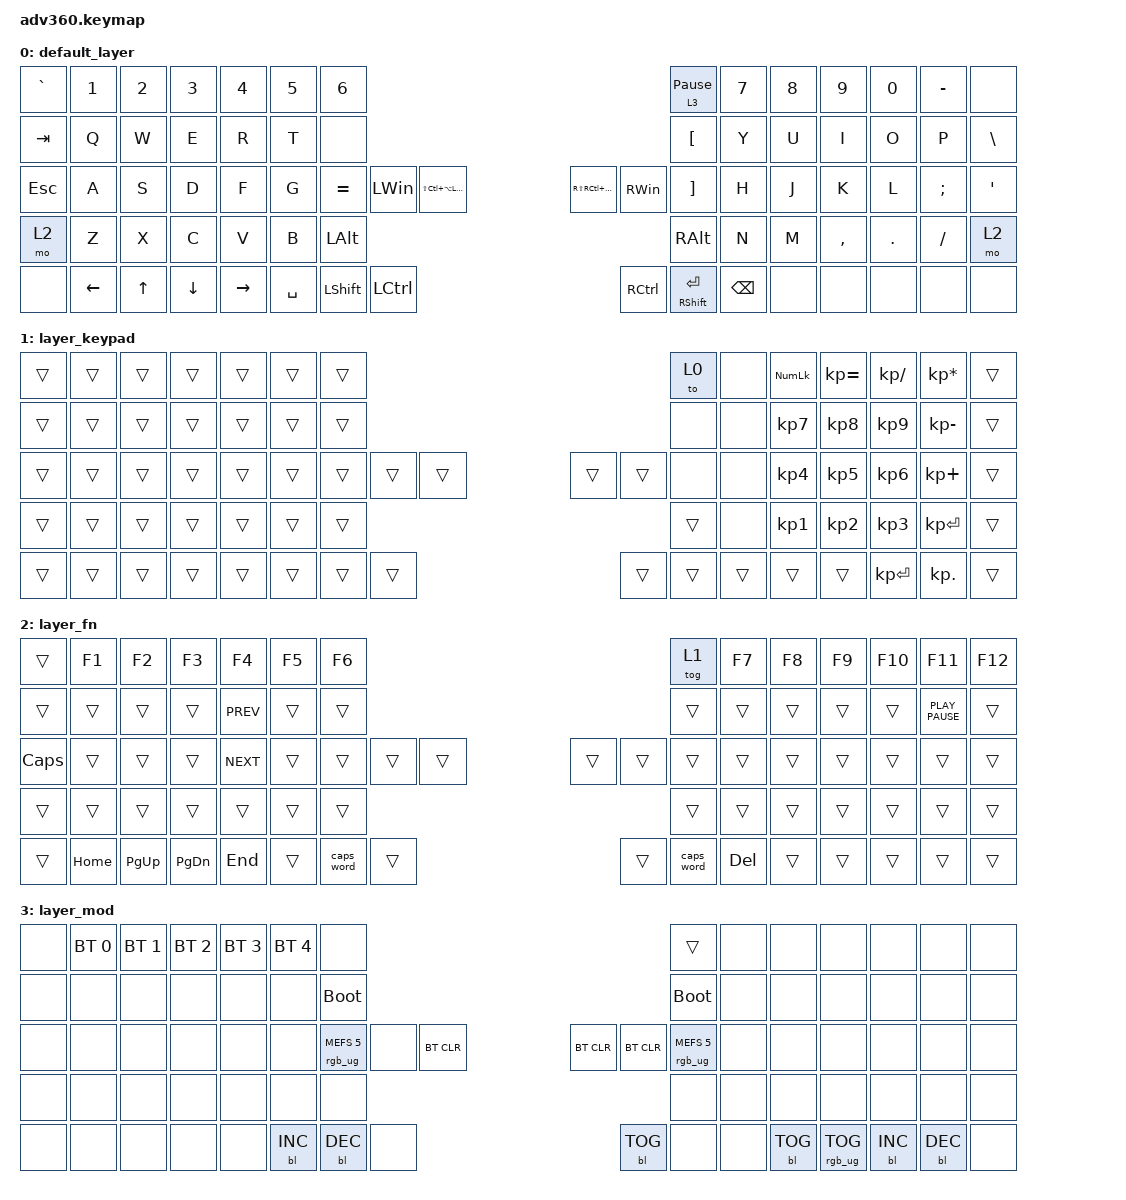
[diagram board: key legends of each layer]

/*
 * Copyright (c) 2020 The ZMK Contributors
 *
 * SPDX-License-Identifier: MIT
 */


/* THIS FILE WAS GENERATED!
 *
 * This file was generated automatically. You may or may not want to
 * edit it directly.
 */

#include <behaviors.dtsi>
#include <dt-bindings/zmk/keys.h>
#include <dt-bindings/zmk/bt.h>
#include <dt-bindings/zmk/rgb.h>
#include <dt-bindings/zmk/backlight.h>

/ {
  behaviors {
    #include "macros.dtsi"

    hm: homerow_mods {
        compatible = "zmk,behavior-hold-tap";
        label = "HOMEROW_MODS";
        #binding-cells = <2>;
        tapping-term-ms = <200>;
        quick_tap_ms = <175>;
        flavor = "tap-preferred";
        bindings = <&kp>, <&kp>;
    };
  };

    keymap {
        compatible = "zmk,keymap";


        default_layer {
            bindings = <
  &kp GRAVE    &kp N1  &kp N2    &kp N3     &kp N4  &kp N5               &kp N6                                                                                                              &lt 3 PAUSE_BREAK  &kp N7  &kp N8     &kp N9   &kp N0  &kp MINUS     &none
    &kp TAB     &kp Q   &kp W     &kp E      &kp R   &kp T                &none                                                                                                               &kp LEFT_BRACKET   &kp Y   &kp U      &kp I    &kp O      &kp P  &kp BSLH
 &kp ESCAPE     &kp A   &kp S     &kp D      &kp F   &kp G            &kp EQUAL    &kp LEFT_WIN  &kp LS(LC(LA(LEFT_WIN)))                  &kp RS(RC(RA(RIGHT_WIN)))          &kp RIGHT_WIN  &kp RIGHT_BRACKET   &kp H   &kp J      &kp K    &kp L   &kp SEMI   &kp SQT
      &mo 2     &kp Z   &kp X     &kp C      &kp V   &kp B                                                   &kp LEFT_ALT                              &kp RIGHT_ALT                                             &kp N   &kp M  &kp COMMA  &kp DOT   &kp FSLH     &mo 2
      &none  &kp LEFT  &kp UP  &kp DOWN  &kp RIGHT                    &kp SPACE  &kp LEFT_SHIFT          &kp LEFT_CONTROL                          &kp RIGHT_CONTROL  &mt RIGHT_SHIFT ENTER      &kp BACKSPACE           &none      &none    &none      &none     &none
            >;
        };

        layer_keypad {
            bindings = <
 &trans  &trans  &trans  &trans  &trans  &trans            &trans                                                   &to 0   &none  &kp KP_NUM  &kp KP_EQUAL  &kp KP_DIVIDE  &kp KP_MULTIPLY  &trans
 &trans  &trans  &trans  &trans  &trans  &trans            &trans                                                   &none   &none   &kp KP_N7     &kp KP_N8      &kp KP_N9     &kp KP_MINUS  &trans
 &trans  &trans  &trans  &trans  &trans  &trans            &trans  &trans  &trans                  &trans  &trans   &none   &none   &kp KP_N4     &kp KP_N5      &kp KP_N6      &kp KP_PLUS  &trans
 &trans  &trans  &trans  &trans  &trans  &trans                            &trans                  &trans                   &none   &kp KP_N1     &kp KP_N2      &kp KP_N3     &kp KP_ENTER  &trans
 &trans  &trans  &trans  &trans  &trans                    &trans  &trans  &trans                  &trans  &trans  &trans              &trans        &trans   &kp KP_ENTER       &kp KP_DOT  &trans
            >;
        };

        layer_fn {
            bindings = <
       &trans    &kp F1     &kp F2         &kp F3      &kp F4  &kp F5            &kp F6                                                              &tog 1  &kp F7  &kp F8  &kp F9  &kp F10           &kp F11  &kp F12
       &trans    &trans     &trans         &trans  &kp K_PREV  &trans            &trans                                                              &trans  &trans  &trans  &trans   &trans  &kp K_PLAY_PAUSE   &trans
 &kp CAPSLOCK    &trans     &trans         &trans  &kp K_NEXT  &trans            &trans      &trans  &trans                  &trans      &trans      &trans  &trans  &trans  &trans   &trans            &trans   &trans
       &trans    &trans     &trans         &trans      &trans  &trans                                &trans                  &trans                          &trans  &trans  &trans   &trans            &trans   &trans
       &trans  &kp HOME  &kp PG_UP  &kp PAGE_DOWN     &kp END                    &trans  &caps_word  &trans                  &trans  &caps_word  &kp DELETE          &trans  &trans   &trans            &trans   &trans
            >;
        };

        layer_mod {
            bindings = <
  &none  &bt BT_SEL 0  &bt BT_SEL 1  &bt BT_SEL 2  &bt BT_SEL 3  &bt BT_SEL 4                             &none                                                                                  &trans   &none       &none            &none       &none       &none   &none
  &none         &none         &none         &none         &none         &none                       &bootloader                                                                             &bootloader   &none       &none            &none       &none       &none   &none
  &none         &none         &none         &none         &none         &none            &rgb_ug RGB_MEFS_CMD 5       &none  &bt BT_CLR                  &bt BT_CLR  &bt BT_CLR  &rgb_ug RGB_MEFS_CMD 5   &none       &none            &none       &none       &none   &none
  &none         &none         &none         &none         &none         &none                                                     &none                       &none                                       &none       &none            &none       &none       &none   &none
  &none         &none         &none         &none         &none                                      &bl BL_INC  &bl BL_DEC       &none                  &bl BL_TOG       &none                   &none          &bl BL_TOG  &rgb_ug RGB_TOG  &bl BL_INC  &bl BL_DEC   &none
            >;
        };

    };
};
